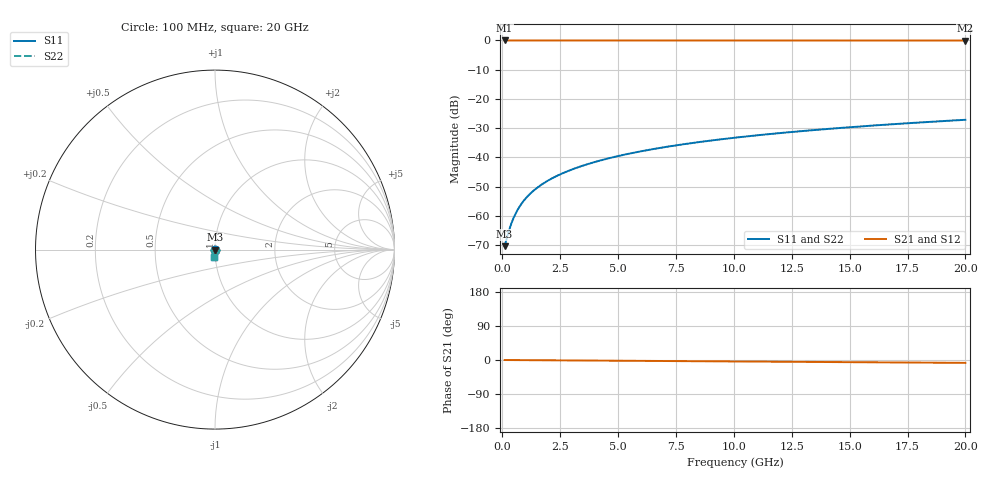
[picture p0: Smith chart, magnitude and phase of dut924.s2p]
! Touchstone file exported from HFSS 2026.1.0
!  File:  C:/ffzhzh/LocalFiles/Ansys_Project_Files/temp_train_TSV_924_1783186711_43440.aedt
!  Generated:  01:39:53 AM Jul  5, 2026
!  Design:  TSV
!  Project:  temp_train_TSV_924_1783186711_43440
! Variables:
!  h_bsmrdl = 2um
!  h_ox = 20um
!  h_rdl = 5um
!  h_sub = 77.53um
!  h_tmrdl = 5um
!  h_tsv = 77.53um
!  h_via = 3um
!  l_bsmrdl = 300um
!  l_sub = 412.94um
!  l_tmrdl = 200um
!  m_sub = 200um
!  pitch = 19.31um
!  r_tsv = 6.47um
!  s_tmrdl = 10um
!  w_bsmrdl = 18um
!  w_sub = 500um
!  w_tmrdl = 12um
!  x_tsv_center1 = 206um
!  x_tsv_center2 = 524um
!  x_tsv_center3 = 736um
!  x_tsv_center4 = 1054um
!  x_tsv_center5 = 1266um
!  x_tsv_center6 = 1584um
# GHz S MA R 50.000000
! Terminal data exported
! Port[1] = TSV1_1_T1
! Port[2] = TSV1_1_T2
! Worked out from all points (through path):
!   200 points, 100 MHz to 20 GHz, reference 50 ohm
!   highest |S21| = 0.00 dB at 100 MHz (marker M1); lowest = 0.0 dB at 20 GHz (marker M2)
!   group delay of S21, straight-line fit = 1.05 ps
!   lowest |S11| = -70.4 dB at 100 MHz (marker M3), VSWR 1.00, Z = 50 - j0.0154 ohm
!   |S11| at or under -10 dB: start of sweep to end of sweep
!   |S22| runs from -70.4 to -27.1 dB; largest |S21 - S12| = 5e-15
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0.1  0.0003037 -30.5  0.9997 -0.0  0.9997 -0.0  0.0003037 -30.5
! Gamma 0 0 0 0
! Port Impedance 50 0 50 0
0.3  0.0005809 -57.1  0.9997 -0.1  0.9997 -0.1  0.0005809 -57.1
0.4  0.0007577 -62.5  0.9996 -0.2  0.9996 -0.2  0.0007577 -62.5
0.5  0.0009471 -66.1  0.9996 -0.2  0.9996 -0.2  0.0009471 -66.1
0.6  0.001145 -68.8  0.9996 -0.2  0.9996 -0.2  0.001145 -68.8
0.8  0.001553 -72.7  0.9995 -0.3  0.9995 -0.3  0.001553 -72.7
0.9  0.00176 -74.1  0.9995 -0.4  0.9995 -0.4  0.00176 -74.1
1.1  0.002178 -76.4  0.9995 -0.4  0.9995 -0.4  0.002178 -76.4
1.3  0.002598 -78.1  0.9994 -0.5  0.9994 -0.5  0.002598 -78.1
1.5  0.003018 -79.4  0.9994 -0.6  0.9994 -0.6  0.003018 -79.4
1.8  0.00365 -80.8  0.9994 -0.7  0.9994 -0.7  0.00365 -80.8
2.1  0.004284 -81.9  0.9993 -0.8  0.9993 -0.8  0.004284 -81.9
2.7  0.005559 -83.4  0.9992 -1.0  0.9992 -1.0  0.005559 -83.4
3.5  0.007277 -84.8  0.9991 -1.4  0.9991 -1.4  0.007277 -84.8
4.2  0.008795 -85.6  0.999 -1.6  0.999 -1.6  0.008795 -85.6
5  0.01055 -86.4  0.9989 -1.9  0.9989 -1.9  0.01055 -86.4
6.8  0.01452 -87.9  0.9987 -2.6  0.9987 -2.6  0.01452 -87.9
8.3  0.01786 -88.9  0.9985 -3.2  0.9985 -3.2  0.01786 -88.9
10.1  0.02187 -90.0  0.9983 -3.9  0.9983 -3.9  0.02187 -90.0
13.4  0.02924 -91.8  0.9979 -5.1  0.9979 -5.1  0.02924 -91.8
16.7  0.03661 -93.4  0.9975 -6.3  0.9975 -6.3  0.03661 -93.4
20  0.044 -94.9  0.9969 -7.6  0.9969 -7.6  0.044 -94.9
